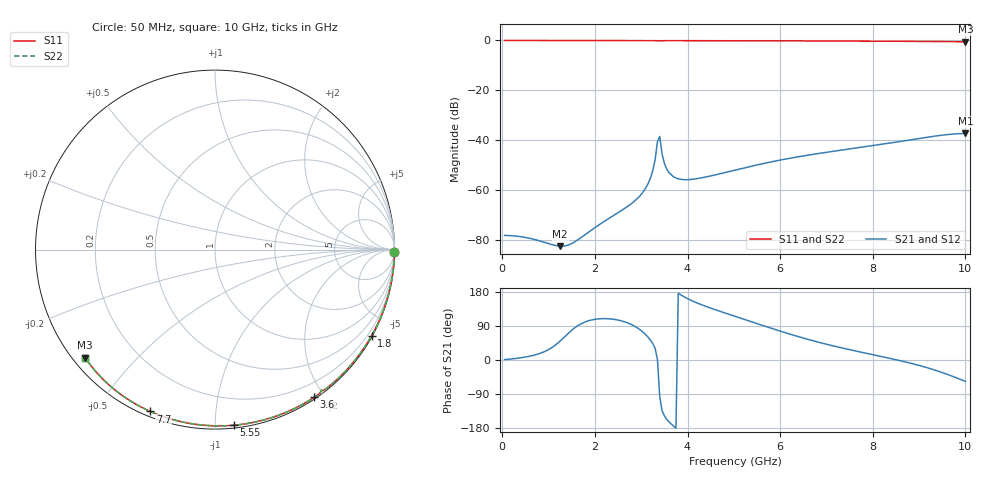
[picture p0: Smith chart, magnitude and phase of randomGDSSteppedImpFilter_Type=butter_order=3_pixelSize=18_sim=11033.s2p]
! freq	dB(S11)	phase(S11)	dB(S12)	phase(S12)
!  dB(S21)	phase(S21)	dB(S22)	phase(S22)
!S-par simulation data
#  GHz  S  DB  R 50
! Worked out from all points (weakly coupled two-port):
!   200 points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, 50 MHz to 10 GHz, reference 50 ohm
!   highest |S21| = -37.20 dB at 10 GHz (marker M1); lowest = -82.3 dB at 1.25 GHz (marker M2)
!   lowest |S11| = -0.5 dB at 10 GHz (marker M3), VSWR 33.39, Z = 1.69 - j18.1 ohm
!   |S11| at or under -10 dB: nowhere
!   |S22| runs from -0.5 to 0.0 dB; largest |S21 - S12| = 0
!   S11 on the Smith chart (normalised r, x): 50 MHz: open; 1.8 GHz: 0.03, -3.89; 3.6 GHz: 0.02, -1.88; 5.55 GHz: 0.02, -1.11; 7.7 GHz: 0.02, -0.68; 10 GHz: 0.03, -0.36
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0.05  -0.00 -0.8  -77.97 1.2  -77.97 1.2  -0.00 -0.8
1.25  -0.02 -20.1  -82.28 50.1  -82.28 50.1  -0.02 -20.1
1.6  -0.03 -25.7  -80.13 88.0  -80.13 88.0  -0.03 -25.7
1.75  -0.04 -28.0  -78.20 98.4  -78.20 98.4  -0.04 -28.0
1.8  -0.04 -28.8  -77.52 100.9  -77.52 100.9  -0.04 -28.8
2.8  -0.06 -44.3  -65.10 92.9  -65.10 92.9  -0.06 -44.3
3.05  -0.06 -48.1  -60.35 72.3  -60.35 72.3  -0.06 -48.1
3.25  -0.07 -51.2  -52.01 43.3  -52.01 43.3  -0.07 -51.2
3.3  -0.08 -52.0  -47.73 30.7  -47.73 30.7  -0.08 -52.0
3.35  -0.12 -53.0  -40.53 2.1  -40.53 2.1  -0.12 -53.0
3.4  -0.15 -52.8  -38.40 -97.0  -38.40 -97.0  -0.15 -52.8
3.45  -0.09 -53.7  -45.40 -133.8  -45.40 -133.8  -0.09 -53.7
3.5  -0.08 -54.6  -49.12 -147.3  -49.12 -147.3  -0.08 -54.6
3.6  -0.08 -56.1  -52.87 -163.3  -52.87 -163.3  -0.08 -56.1
3.8  -0.08 -59.1  -55.34 176.2  -55.34 176.2  -0.08 -59.1
4  -0.09 -62.0  -55.68 161.9  -55.68 161.9  -0.09 -62.0
5.05  -0.12 -77.0  -51.74 114.3  -51.74 114.3  -0.12 -77.0
5.55  -0.14 -83.8  -49.59 94.1  -49.59 94.1  -0.14 -83.8
6.7  -0.19 -99.0  -45.58 51.1  -45.58 51.1  -0.19 -99.0
7.7  -0.25 -111.8  -42.87 21.9  -42.87 21.9  -0.25 -111.8
8.35  -0.31 -119.9  -41.09 4.9  -41.09 4.9  -0.31 -119.9
10  -0.52 -140.2  -37.20 -56.5  -37.20 -56.5  -0.52 -140.2
